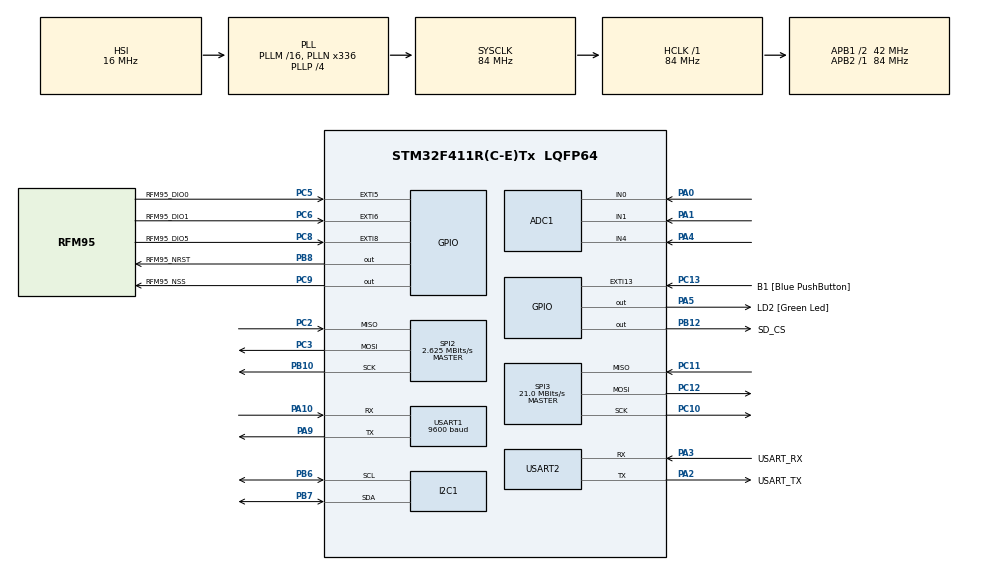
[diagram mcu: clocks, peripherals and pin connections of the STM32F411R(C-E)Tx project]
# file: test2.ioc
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ADC1.Channel-0\#ChannelRegularConversion=ADC_CHANNEL_0
ADC1.Channel-1\#ChannelRegularConversion=ADC_CHANNEL_1
ADC1.Channel-2\#ChannelRegularConversion=ADC_CHANNEL_4
ADC1.Channel-3\#ChannelRegularConversion=ADC_CHANNEL_VREFINT
ADC1.DiscontinuousConvMode=ENABLE
ADC1.InjNumberOfConversion=0
ADC1.NbrOfConversion=4
ADC1.NbrOfConversionFlag=1
ADC1.Rank-0\#ChannelRegularConversion=1
ADC1.Rank-1\#ChannelRegularConversion=2
ADC1.Rank-2\#ChannelRegularConversion=3
ADC1.Rank-3\#ChannelRegularConversion=4
ADC1.SamplingTime-0\#ChannelRegularConversion=ADC_SAMPLETIME_3CYCLES
ADC1.SamplingTime-1\#ChannelRegularConversion=ADC_SAMPLETIME_3CYCLES
ADC1.SamplingTime-2\#ChannelRegularConversion=ADC_SAMPLETIME_3CYCLES
ADC1.SamplingTime-3\#ChannelRegularConversion=ADC_SAMPLETIME_3CYCLES
ADC1.ScanConvMode=ENABLE
ADC1.master=1
FATFS._MAX_SS=4096
FATFS._USE_LFN=1
Mcu.Family=STM32F4
Mcu.Name=STM32F411R(C-E)Tx
Mcu.Package=LQFP64
NVIC.EXTI15_10_IRQn=true\:0\:0\:false\:false\:true\:true\:true\:true
NVIC.PriorityGroup=NVIC_PRIORITYGROUP_0
NVIC.TIM1_TRG_COM_TIM11_IRQn=true\:0\:0\:false\:false\:true\:true\:true\:true
NVIC.USART1_IRQn=true\:0\:0\:false\:false\:true\:true\:true\:true
PA0-WKUP.Signal=ADCx_IN0
PA1.Signal=ADCx_IN1
PA10.Mode=Asynchronous
PA10.Signal=USART1_RX
PA13.GPIO_Label=TMS
PA13.Mode=Serial_Wire
PA13.Signal=SYS_JTMS-SWDIO
PA14.GPIO_Label=TCK
PA14.Mode=Serial_Wire
PA14.Signal=SYS_JTCK-SWCLK
PA2.GPIO_Label=USART_TX
PA2.Mode=Asynchronous
PA2.Signal=USART2_TX
PA3.GPIO_Label=USART_RX
PA3.Mode=Asynchronous
PA3.Signal=USART2_RX
PA4.Signal=ADCx_IN4
PA5.GPIO_Label=LD2 [Green Led]
PA5.Signal=GPIO_Output
PA9.Mode=Asynchronous
PA9.Signal=USART1_TX
PB10.Mode=Full_Duplex_Master
PB10.Signal=SPI2_SCK
PB12.GPIO_Label=SD_CS
PB12.PinState=GPIO_PIN_SET
PB12.Signal=GPIO_Output
PB3.GPIO_Label=SWO
PB3.Signal=SYS_JTDO-SWO
PB6.Mode=I2C
PB6.Signal=I2C1_SCL
PB7.Mode=I2C
PB7.Signal=I2C1_SDA
PB8.GPIO_Label=RFM95_NRST
PB8.PinState=GPIO_PIN_SET
PB8.Signal=GPIO_Output
PC10.Mode=Full_Duplex_Master
PC10.Signal=SPI3_SCK
PC11.Mode=Full_Duplex_Master
PC11.Signal=SPI3_MISO
PC12.Mode=Full_Duplex_Master
PC12.Signal=SPI3_MOSI
PC13-ANTI_TAMP.GPIO_Label=B1 [Blue PushButton]
PC13-ANTI_TAMP.GPIO_ModeDefaultEXTI=GPIO_MODE_IT_FALLING
PC13-ANTI_TAMP.Signal=GPXTI13
PC14-OSC32_IN.Mode=LSE-External-Oscillator
PC14-OSC32_IN.Signal=RCC_OSC32_IN
PC15-OSC32_OUT.Mode=LSE-External-Oscillator
PC15-OSC32_OUT.Signal=RCC_OSC32_OUT
PC2.Mode=Full_Duplex_Master
PC2.Signal=SPI2_MISO
PC3.Mode=Full_Duplex_Master
PC3.Signal=SPI2_MOSI
PC5.GPIO_Label=RFM95_DIO0
PC5.Signal=GPXTI5
PC6.GPIO_Label=RFM95_DIO1
PC6.Signal=GPXTI6
PC8.GPIO_Label=RFM95_DIO5
PC8.Signal=GPXTI8
PC9.GPIO_Label=RFM95_NSS
PC9.PinState=GPIO_PIN_SET
PC9.Signal=GPIO_Output
PH0\ -\ OSC_IN.Mode=HSE-External-Clock-Source
PH0\ -\ OSC_IN.Signal=RCC_OSC_IN
PH1\ -\ OSC_OUT.Mode=HSE-External-Clock-Source
PH1\ -\ OSC_OUT.Signal=RCC_OSC_OUT
ProjectManager.HeapSize=0x200
ProjectManager.StackSize=0x400
ProjectManager.TargetToolchain=STM32CubeIDE
RCC.48MHZClocksFreq_Value=84000000
RCC.AHBFreq_Value=84000000
RCC.APB1CLKDivider=RCC_HCLK_DIV2
RCC.APB1Freq_Value=42000000
RCC.APB1TimFreq_Value=84000000
RCC.APB2Freq_Value=84000000
RCC.APB2TimFreq_Value=84000000
RCC.CortexFreq_Value=84000000
RCC.FLatency-AdvancedSettings=FLASH_LATENCY_2
RCC.HCLKFreq_Value=84000000
RCC.HSE_VALUE=8000000
RCC.HSI_VALUE=16000000
RCC.PLLN=336
RCC.PLLP=RCC_PLLP_DIV4
RCC.SYSCLKFreq_VALUE=84000000
RCC.SYSCLKSource=RCC_SYSCLKSOURCE_PLLCLK
RCC.VCOOutputFreq_Value=336000000
SH.ADCx_IN0.0=ADC1_IN0,IN0
SH.ADCx_IN1.0=ADC1_IN1,IN1
SH.ADCx_IN4.0=ADC1_IN4,IN4
SPI2.BaudRatePrescaler=SPI_BAUDRATEPRESCALER_16
SPI2.CalculateBaudRate=2.625 MBits/s
SPI2.Direction=SPI_DIRECTION_2LINES
SPI2.Mode=SPI_MODE_MASTER
SPI2.VirtualType=VM_MASTER
SPI3.CalculateBaudRate=21.0 MBits/s
SPI3.Direction=SPI_DIRECTION_2LINES
SPI3.Mode=SPI_MODE_MASTER
SPI3.VirtualType=VM_MASTER
TIM11.Period=19999
TIM11.Prescaler=8399
USART1.BaudRate=9600
USART1.VirtualMode=VM_ASYNC
USART2.VirtualMode=VM_ASYNC
VP_ADC1_Vref_Input.Mode=IN-Vrefint
VP_FATFS_VS_Generic.Mode=User_defined
VP_TIM11_VS_ClockSourceINT.Mode=Enable_Timer
board=NUCLEO-F411RE

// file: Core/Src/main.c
/* USER CODE BEGIN Header */
/**
 ******************************************************************************
 * @file           : main.c
 * @brief          : Main program body
 ******************************************************************************
 * @attention
 *
 * Copyright (c) 2023 STMicroelectronics.
 * All rights reserved.
 *
 * This software is licensed under terms that can be found in the LICENSE file
 * in the root directory of this software component.
 * If no LICENSE file comes with this software, it is provided AS-IS.
 *
 ******************************************************************************
 */
/* USER CODE END Header */
#include "main.h"
#include "adc.h"
#include "fatfs.h"
#include "i2c.h"
#include "spi.h"
#include "tim.h"
#include "usart.h"
#include "gpio.h"

/* USER CODE BEGIN Includes */
#include "../../test/test.h"
#include <stdio.h>
#include "../../so/so.h"
/* USER CODE END Includes */

/* USER CODE BEGIN PV */
typedef struct DATA
{
	struct sps30_measurement PM_Data;
	CO_t CO_Data;
	GPS_t GPS_Data;
} CollatedData;
typedef struct DATA_SD
{
	struct sps30_measurement_SD PM_Data;
	CO_t CO_Data;
	GPS_t GPS_Data;
} CollatedDataSD;

CollatedData collatedData;
CollatedDataSD collatedDataSD;
void* vptr_test = &collatedData;
uint8_t buffer[sizeof(collatedData)];

void* vptr_test_SD = &collatedDataSD;
uint8_t bufferSD[sizeof(collatedDataSD)];
FRESULT     fres;                 //Result after operations
uint16_t data_ready = 0;
uint16_t ret;
uint16_t err;
uint32_t vgas;
uint32_t vgas0;
uint32_t vtemp;
uint16_t vrefint_cal;                        // VREFINT calibration value
uint32_t vref;
/* USER CODE END PV */

void SystemClock_Config(void);

int main(void)
{

	/* MCU Configuration--------------------------------------------------------*/

	/* Reset of all peripherals, Initializes the Flash interface and the Systick. */
	HAL_Init();

	/* Configure the system clock */
	SystemClock_Config();

	/* Initialize all configured peripherals */
	MX_GPIO_Init();
	MX_SPI2_Init();
	MX_USART2_UART_Init();
	MX_FATFS_Init();
	MX_I2C1_Init();
	MX_USART1_UART_Init();
	MX_SPI3_Init();
	MX_TIM11_Init();
	MX_ADC1_Init();
	/* USER CODE BEGIN 2 */
	//test_sd();
	//test_pm();
	//test_gps();
	//test_lora();

	init_co();

	init_pm();

	/* USER CODE END 2 */

	/* Infinite loop */
	/* USER CODE BEGIN WHILE */

	init_sd();

	init_lora();
	printf("%d\n", sizeof(collatedDataSD));
	printf("sleeping\n");
	HAL_SuspendTick();
	HAL_PWR_EnterSLEEPMode(PWR_MAINREGULATOR_ON, PWR_SLEEPENTRY_WFI);
	MX_USART1_UART_Init();
	init_gps();
	HAL_PWR_EnableSleepOnExit ();
	HAL_SuspendTick();
	HAL_PWR_EnterSLEEPMode(PWR_MAINREGULATOR_ON, PWR_SLEEPENTRY_WFI);
	HAL_ResumeTick();
	int length = snprintf(NULL, 0, "%.6lu-%0.0f.bin",collatedData.GPS_Data.date, collatedData.GPS_Data.utc_time);
	char comb_str[length+1];
	sprintf(comb_str, "%.6lu-%0.0f.bin",collatedData.GPS_Data.date, collatedData.GPS_Data.utc_time);
    printf("value of filename: %.*s\n", (int)sizeof(comb_str), comb_str);
	init_gps();
	while (1)
	{
		/* USER CODE END WHILE */

		/* USER CODE BEGIN 3 */
		HAL_PWR_EnableSleepOnExit ();
		HAL_SuspendTick();
		HAL_PWR_EnterSLEEPMode(PWR_MAINREGULATOR_ON, PWR_SLEEPENTRY_WFI);
		HAL_ResumeTick();
		//collect SO
		HAL_ADC_Start(&hadc1);
		HAL_ADC_PollForConversion(&hadc1, 100);
		vgas = HAL_ADC_GetValue(&hadc1);

		HAL_ADC_Start(&hadc1);
		HAL_ADC_PollForConversion(&hadc1, 100);
		vgas0 = HAL_ADC_GetValue(&hadc1);

		HAL_ADC_Start(&hadc1);
		HAL_ADC_PollForConversion(&hadc1, 100);
		vtemp = HAL_ADC_GetValue(&hadc1);

		HAL_ADC_Start(&hadc1);
		HAL_ADC_PollForConversion(&hadc1, 100);
		HAL_ADC_Stop(&hadc1);

		vrefint_cal= *((uint16_t*)VREFINT_CAL_ADDR); // read VREFINT_CAL_ADDR memory location
		vref = 3.3*vrefint_cal/HAL_ADC_GetValue(&hadc1);

		//printf("%f \n", vref);

		collatedData.PM_Data.SO_ppm = so_convert(vgas, vgas0, vtemp, vref);
		collatedDataSD.PM_Data.SO_ppm = collatedData.PM_Data.SO_ppm;

		printf("SO2 SENSOR COLLECTION:\n\t%d ppm SO2\n", collatedData.PM_Data.SO_ppm);
		//collect CO
		data_ready = 0;
		err = scd30_get_data_ready(&data_ready)	;
		if (data_ready)
			err =
					scd30_read_measurement(&collatedData.CO_Data.co2_ppm, &collatedData.CO_Data.temperature, &collatedData.CO_Data.relative_humidity);
		if (err == NO_ERROR) {
			printf("CO2 SENSOR COLLECTION:\n\t%f ppm CO2\n\t%f °C\n\t%f %%RH\n", collatedData.CO_Data.co2_ppm, collatedData.CO_Data.temperature, collatedData.CO_Data.relative_humidity);
			collatedDataSD.CO_Data.co2_ppm = collatedData.CO_Data.co2_ppm;
			collatedDataSD.CO_Data.temperature = collatedData.CO_Data.temperature;
			collatedDataSD.CO_Data.relative_humidity = collatedData.CO_Data.relative_humidity;
		} else {
			printf("co data collect failed\n");
		}
		//collect PM
		ret = sps30_read_measurement(&collatedDataSD.PM_Data);
		if (ret < 0) {
			printf("pm data collect failed\n");
		} else {
			printf("PM SENSOR COLLECTION:\n"
			    "\t%0.2f pm1.0\n"
			    "\t%0.2f pm2.5\n"
			    "\t%0.2f pm4.0\n"
			    "\t%0.2f pm10.0\n"
			    "\t%0.2f nc0.5\n"
			    "\t%0.2f nc1.0\n"
			    "\t%0.2f nc2.5\n"
			    "\t%0.2f nc4.5\n"
			    "\t%0.2f nc10.0\n"
			    "\t%0.2f typical particle size\n\n",
			    collatedDataSD.PM_Data.mc_1p0, collatedDataSD.PM_Data.mc_2p5, collatedDataSD.PM_Data.mc_4p0, collatedDataSD.PM_Data.mc_10p0, collatedDataSD.PM_Data.nc_0p5, collatedDataSD.PM_Data.nc_1p0,
			    collatedDataSD.PM_Data.nc_2p5, collatedDataSD.PM_Data.nc_4p0, collatedDataSD.PM_Data.nc_10p0, collatedDataSD.PM_Data.typical_particle_size);
			collatedData.PM_Data.mc_2p5 = collatedDataSD.PM_Data.mc_2p5;
			collatedData.PM_Data.nc_2p5 = collatedDataSD.PM_Data.nc_2p5;
		}

		//squash structs
		memcpy(buffer, vptr_test, sizeof(collatedData));
		memcpy(bufferSD, vptr_test_SD, sizeof(collatedDataSD));
		//send to lora
		if (!rfm95_send_data(&rfm95_handle, buffer, sizeof(buffer))) {
			printf("lora send failed\n\r");
		}
		else{
			printf("LORA SEND SUCCESSFUL\n");
		}
		//save to sd
		fres = f_open(&file, comb_str, FA_WRITE | FA_READ | FA_OPEN_APPEND);
		if(fres != FR_OK)
		{
			printf("File creation/open Error : (%i)\r\n", fres);
			f_close(&file);
		} else {
			unsigned int bytesWritten = 0;
			f_write(&file, bufferSD, sizeof(bufferSD), &bytesWritten);
			f_close(&file);
			printf("SD WRITE SUCCESSFUL\n");
			printf("%d bytes written\n", bytesWritten);
		}
		//reset timer, 2seconds
		TIM11->CNT = 0;
		HAL_TIM_Base_Start_IT(&htim11);
		HAL_SuspendTick();
		HAL_PWR_EnterSLEEPMode(PWR_MAINREGULATOR_ON, PWR_SLEEPENTRY_WFI);
		HAL_ResumeTick();
		HAL_TIM_Base_Stop_IT(&htim11);
		//call gps, restart
		GPS_Init();
		HAL_GPIO_TogglePin(GPIOA, GPIO_PIN_5); // Toggle The Output (LED) Pin

	}
	/* USER CODE END 3 */
}

void SystemClock_Config(void)
{
	RCC_OscInitTypeDef RCC_OscInitStruct = {0};
	RCC_ClkInitTypeDef RCC_ClkInitStruct = {0};

	/** Configure the main internal regulator output voltage
	 */
	__HAL_RCC_PWR_CLK_ENABLE();
	__HAL_PWR_VOLTAGESCALING_CONFIG(PWR_REGULATOR_VOLTAGE_SCALE1);

	/** Initializes the RCC Oscillators according to the specified parameters
	 * in the RCC_OscInitTypeDef structure.
	 */
	RCC_OscInitStruct.OscillatorType = RCC_OSCILLATORTYPE_HSI;
	RCC_OscInitStruct.HSIState = RCC_HSI_ON;
	RCC_OscInitStruct.HSICalibrationValue = RCC_HSICALIBRATION_DEFAULT;
	RCC_OscInitStruct.PLL.PLLState = RCC_PLL_ON;
	RCC_OscInitStruct.PLL.PLLSource = RCC_PLLSOURCE_HSI;
	RCC_OscInitStruct.PLL.PLLM = 16;
	RCC_OscInitStruct.PLL.PLLN = 336;
	RCC_OscInitStruct.PLL.PLLP = RCC_PLLP_DIV4;
	RCC_OscInitStruct.PLL.PLLQ = 4;
	if (HAL_RCC_OscConfig(&RCC_OscInitStruct) != HAL_OK)
	{
		Error_Handler();
	}

	/** Initializes the CPU, AHB and APB buses clocks
	 */
	RCC_ClkInitStruct.ClockType = RCC_CLOCKTYPE_HCLK|RCC_CLOCKTYPE_SYSCLK
			|RCC_CLOCKTYPE_PCLK1|RCC_CLOCKTYPE_PCLK2;
	RCC_ClkInitStruct.SYSCLKSource = RCC_SYSCLKSOURCE_PLLCLK;
	RCC_ClkInitStruct.AHBCLKDivider = RCC_SYSCLK_DIV1;
	RCC_ClkInitStruct.APB1CLKDivider = RCC_HCLK_DIV2;
	RCC_ClkInitStruct.APB2CLKDivider = RCC_HCLK_DIV1;

	if (HAL_RCC_ClockConfig(&RCC_ClkInitStruct, FLASH_LATENCY_2) != HAL_OK)
	{
		Error_Handler();
	}
}

/* USER CODE BEGIN 4 */
#include <stdio.h>
#include <string.h>
#ifdef __GNUC__
/* With GCC, small printf (option LD Linker->Libraries->Small printf
     set to 'Yes') calls __io_putchar() */
int __io_putchar(int ch)
#else
int fputc(int ch, FILE *f)
#endif /* __GNUC__ */
{
	/* Place your implementation of fputc here */
	/* e.g. write a character to the UART2 and Loop until the end of transmission */
	HAL_UART_Transmit(&huart2, (uint8_t *)&ch, 1, HAL_MAX_DELAY);
	return ch;
}

void HAL_GPIO_EXTI_Callback(uint16_t GPIO_Pin)
{
	if(GPIO_Pin == GPIO_PIN_13) // If The INT Source Is EXTI Line9 (A9 Pin)
	{
	}
}
void GPS_UART_CallBack(){
	if (rx_data != '\n' && rx_index < sizeof(rx_buffer)) {
		rx_buffer[rx_index++] = rx_data;
		HAL_UART_Receive_IT(GPS_USART, &rx_data, 1);
	} else {

		if(GPS_validate((char*) rx_buffer))
		{
			if (GPS_parse((char*) rx_buffer)) {
				collatedData.GPS_Data = GPS;
				collatedDataSD.GPS_Data = GPS;
				HAL_PWR_DisableSleepOnExit ();
			} else {
				HAL_UART_Receive_IT(GPS_USART, &rx_data, 1);
			}
		} else {
			HAL_UART_Receive_IT(GPS_USART, &rx_data, 1);
		}
		rx_index = 0;
		memset(rx_buffer, 0, sizeof(rx_buffer));
	}
}

/* USER CODE END 4 */

void Error_Handler(void)
{
	__disable_irq();
	while (1)
	{
	}
}
